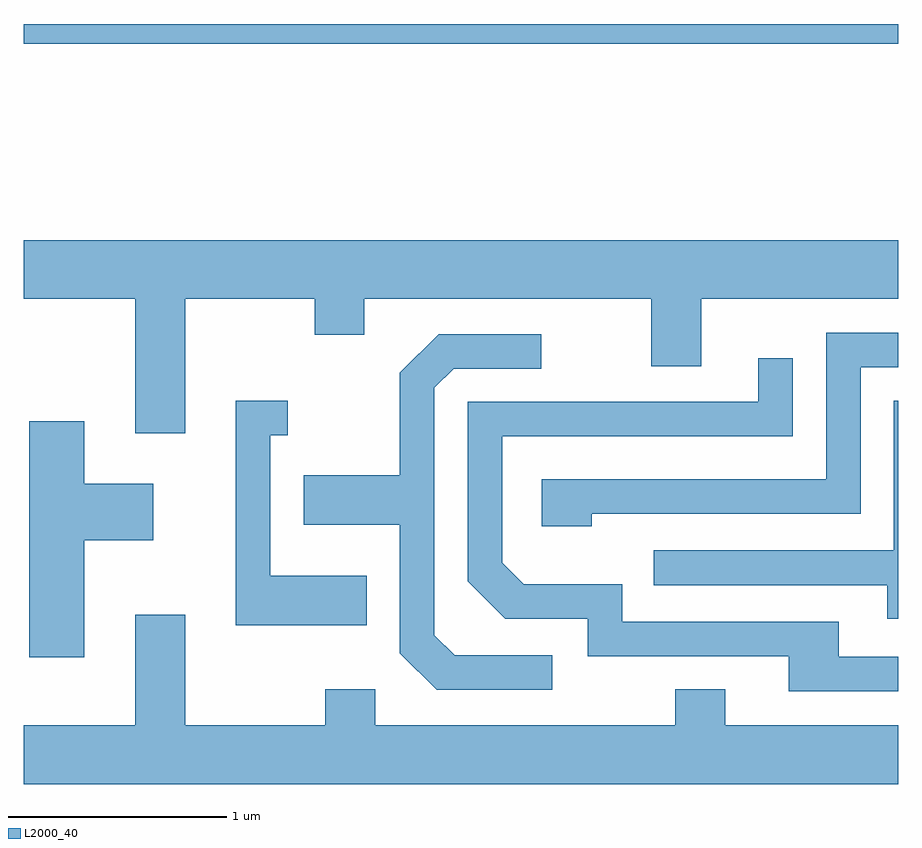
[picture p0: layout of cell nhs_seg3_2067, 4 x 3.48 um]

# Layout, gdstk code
import gdstk
lib = gdstk.Library(unit=1e-6, precision=1e-09)
def R(c, l, rs):  # rectangles x0, y0, x1, y1
    for r in rs: c.add(gdstk.rectangle(r[:2], r[2:], *l))
def P(c, l, *ps):  # polygons
    for p in ps: c.add(gdstk.Polygon(p, *l))
L2000_40 = (2000, 40)

nhs_seg3_2067 = lib.new_cell('nhs_seg3_2067')
R(nhs_seg3_2067, L2000_40, [(245.611,1173.801,249.611,1173.892)])
P(nhs_seg3_2067, L2000_40, [(245.611,1172.636),(246.121,1172.636),(246.121,1172.021),(246.349,1172.021),(246.349,1172.636),(246.941,1172.636),(246.941,1172.471),(247.169,1172.471),(247.169,1172.636),(248.481,1172.636),(248.481,1172.326),(248.709,1172.326),(248.709,1172.636),(249.611,1172.636),(249.611,1172.904),(245.611,1172.904)],
  [(248.209,1171.651),(249.439,1171.651),(249.439,1172.321),(249.611,1172.321),(249.611,1172.479),(249.281,1172.479),(249.281,1171.809),(247.981,1171.809),(247.981,1171.596),(248.209,1171.596)],
  [(248.028,1171.004),(247.582,1171.004),(247.489,1171.097),(247.489,1172.229),(247.577,1172.316),(247.978,1172.316),(247.978,1172.474),(247.509,1172.474),(247.331,1172.297),(247.331,1171.829),(246.891,1171.829),(246.891,1171.601),(247.331,1171.601),(247.331,1171.014),(247.499,1170.846),(248.028,1170.846)],
  [(249.611,1170.999),(249.339,1170.999),(249.339,1171.159),(248.349,1171.159),(248.349,1171.329),(247.897,1171.329),(247.799,1171.427),(247.799,1172.006),(249.129,1172.006),(249.129,1172.363),(248.971,1172.363),(248.971,1172.164),(247.641,1172.164),(247.641,1171.344),(247.814,1171.171),(248.191,1171.171),(248.191,1171.001),(249.111,1171.001),(249.111,1170.841),(249.611,1170.841)],
  [(247.179,1171.369),(246.739,1171.369),(246.739,1172.011),(246.818,1172.011),(246.818,1172.169),(246.581,1172.169),(246.581,1171.141),(247.179,1171.141)],
  [(249.611,1172.169),(249.591,1172.169),(249.591,1171.484),(248.493,1171.484),(248.493,1171.326),(249.561,1171.326),(249.561,1171.171),(249.611,1171.171)],
  [(245.889,1171.531),(246.204,1171.531),(246.204,1171.789),(245.889,1171.789),(245.889,1172.074),(245.636,1172.074),(245.636,1170.996),(245.889,1170.996)],
  [(249.611,1170.684),(248.819,1170.684),(248.819,1170.849),(248.591,1170.849),(248.591,1170.684),(247.219,1170.684),(247.219,1170.849),(246.991,1170.849),(246.991,1170.684),(246.349,1170.684),(246.349,1171.189),(246.121,1171.189),(246.121,1170.684),(245.611,1170.684),(245.611,1170.416),(249.611,1170.416)])

lib.write_gds('nhs_seg3_2067.gds')
